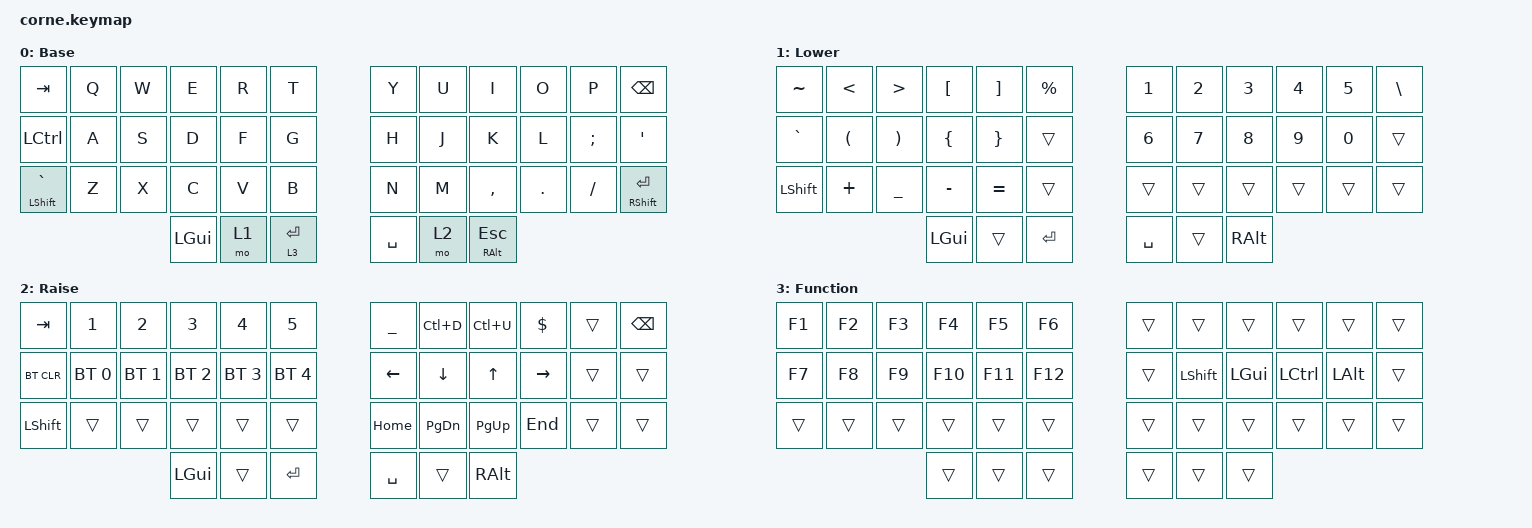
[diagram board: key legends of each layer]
/*
 * Copyright (c) 2020 The ZMK Contributors
 *
 * SPDX-License-Identifier: MIT
 */

#include <behaviors.dtsi>
#include <dt-bindings/zmk/bt.h>
#include <dt-bindings/zmk/keys.h>

/ {
    keymap {
        compatible = "zmk,keymap";

        default_layer {
            // -----------------------------------------------------------------------------------------
            // |  TAB |  Q  |  W  |  E  |  R  |  T  |   |  Y  |  U   |  I  |  O  |  P  | BKSP |
            // | CTRL |  A  |  S  |  D  |  F  |  G  |   |  H  |  J   |  K  |  L  |  ;  |  '   |
            // | SHFT |  Z  |  X  |  C  |  V  |  B  |   |  N  |  M   |  ,  |  .  |  /  | ESC  |
            //                    | GUI | LWR | SPC |   | ENT | RSE  | ALT |

            label = "Base";
            bindings = <
&kp TAB               &kp Q  &kp W  &kp E     &kp R  &kp T          &kp Y      &kp U  &kp I              &kp O    &kp P     &kp BSPC
&kp LCTRL             &kp A  &kp S  &kp D     &kp F  &kp G          &kp H      &kp J  &kp K              &kp L    &kp SEMI  &kp SQT
&mt LEFT_SHIFT GRAVE  &kp Z  &kp X  &kp C     &kp V  &kp B          &kp N      &kp M  &kp COMMA          &kp DOT  &kp FSLH  &mt RIGHT_SHIFT RETURN
                                    &kp LGUI  &mo 1  &lt 3 ENTER    &kp SPACE  &mo 2  &mt RIGHT_ALT ESC
            >;
        };

        lower_layer {
            // -----------------------------------------------------------------------------------------
            // |  TAB |  !  |  @  |  #  |  $  |  %  |   |  ^  |  &  |  *  |  (  |  )  | BKSP |
            // | CTRL |     |     |     |     |     |   |  -  |  =  |  [  |  ]  |  \  |  `   |
            // | SHFT |     |     |     |     |     |   |  _  |  +  |  {  |  }  | "|" |  ~   |
            //                    | GUI |     | SPC |   | ENT |     | ALT |

            label = "Lower";
            bindings = <
&kp TILDE  &kp LESS_THAN         &kp GREATER_THAN       &kp LEFT_BRACKET  &kp RIGHT_BRACKET  &kp PRCNT     &kp NUMBER_1  &kp NUMBER_2  &kp NUMBER_3  &kp NUMBER_4  &kp N5        &kp BACKSLASH
&kp GRAVE  &kp LEFT_PARENTHESIS  &kp RIGHT_PARENTHESIS  &kp LEFT_BRACE    &kp RIGHT_BRACE    &trans        &kp NUMBER_6  &kp NUMBER_7  &kp NUMBER_8  &kp NUMBER_9  &kp NUMBER_0  &trans
&kp LSHFT  &kp PLUS              &kp UNDERSCORE         &kp MINUS         &kp EQUAL          &trans        &trans        &trans        &trans        &trans        &trans        &trans
                                                        &kp LGUI          &trans             &kp RETURN    &kp SPACE     &trans        &kp RALT
            >;
        };

        raise_layer {
            // -----------------------------------------------------------------------------------------
            // |  TAB |  1  |  2  |  3  |  4  |  5  |   |  6  |  7  |  8  |  9  |  0  | BKSP |
            // | BTCLR| BT1 | BT2 | BT3 | BT4 | BT5 |   | LFT | DWN |  UP | RGT |     |      |
            // | SHFT |     |     |     |     |     |   |     |     |     |     |     |      |
            //                    | GUI |     | SPC |   | ENT |     | ALT |

            label = "Raise";
            bindings = <
&kp TAB     &kp N1        &kp N2        &kp N3        &kp N4        &kp N5          &kp UNDERSCORE  &kp LC(D)      &kp LC(U)    &kp DOLLAR  &trans  &kp BSPC
&bt BT_CLR  &bt BT_SEL 0  &bt BT_SEL 1  &bt BT_SEL 2  &bt BT_SEL 3  &bt BT_SEL 4    &kp LEFT        &kp DOWN       &kp UP       &kp RIGHT   &trans  &trans
&kp LSHFT   &trans        &trans        &trans        &trans        &trans          &kp HOME        &kp PAGE_DOWN  &kp PAGE_UP  &kp END     &trans  &trans
                                        &kp LGUI      &trans        &kp RETURN      &kp SPACE       &trans         &kp RALT
            >;
        };

        function_layer {
            bindings = <
&kp F1  &kp F2  &kp F3  &kp F4   &kp F5   &kp F6     &trans  &trans     &trans    &trans     &trans    &trans
&kp F7  &kp F8  &kp F9  &kp F10  &kp F11  &kp F12    &trans  &kp LSHFT  &kp LGUI  &kp LCTRL  &kp LALT  &trans
&trans  &trans  &trans  &trans   &trans   &trans     &trans  &trans     &trans    &trans     &trans    &trans
                        &trans   &trans   &trans     &trans  &trans     &trans
            >;

            label = "Function";
        };
    };
};
